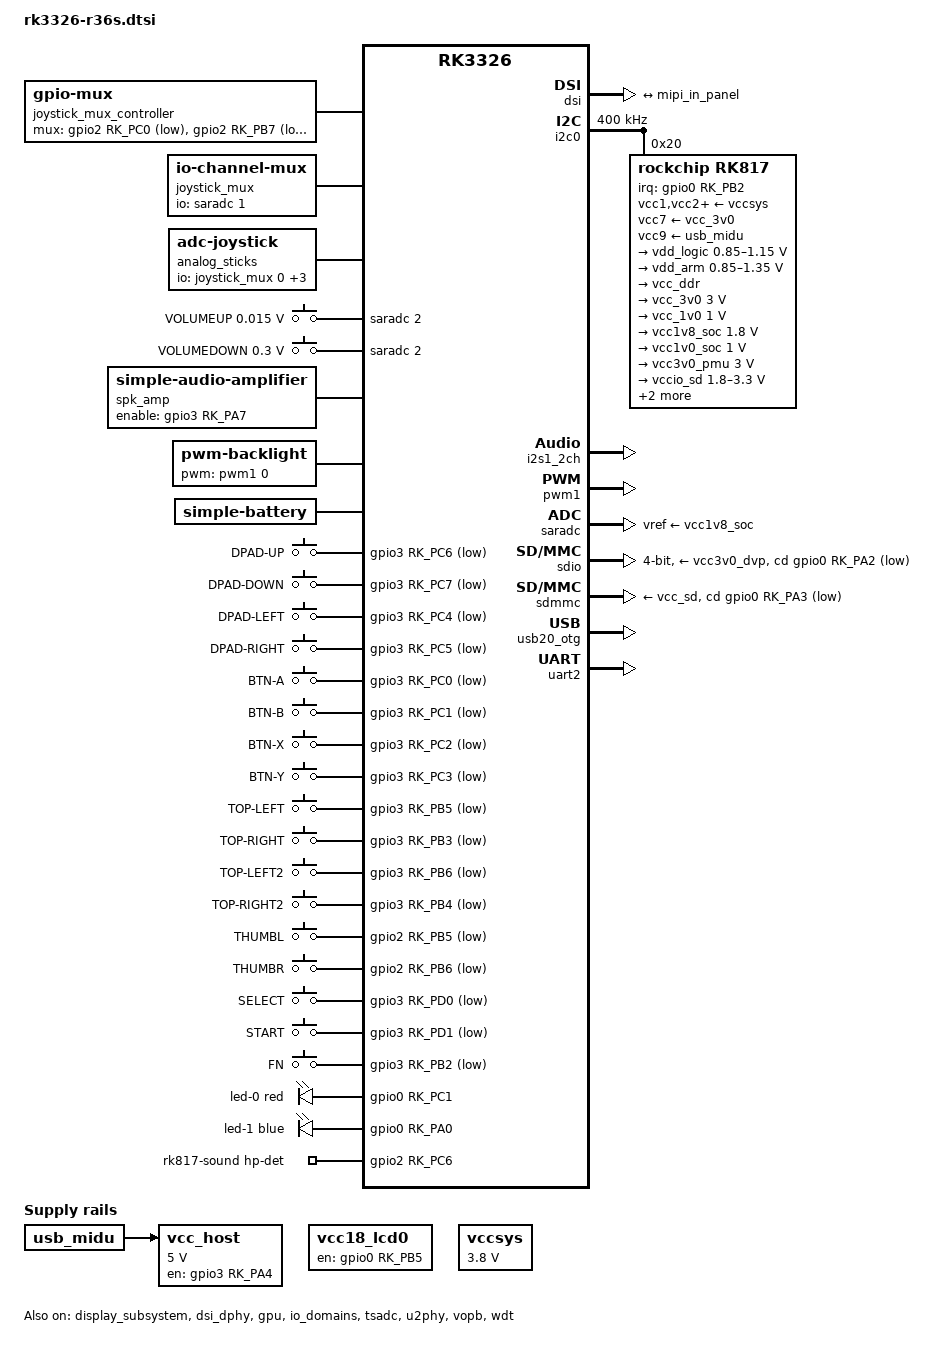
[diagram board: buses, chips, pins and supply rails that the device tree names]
// SPDX-License-Identifier: (GPL-2.0+ OR MIT)
/*
 * R36S-based consoles Device Tree Include file
 *
 * Copyright 2026 Trijal Saha - <trijalsaha2012@gmail.com>
 */

/dts-v1/;
#include <dt-bindings/gpio/gpio.h>
#include <dt-bindings/input/input.h>
#include <dt-bindings/leds/common.h>
#include <dt-bindings/pinctrl/rockchip.h>
#include "rk3326.dtsi"

/ {
	aliases {
		mmc0 = &sdmmc;
		mmc1 = &sdio;
	};

	chosen {
		stdout-path = "serial2:115200n8";
	};

	/*
	 * Persistent store for the kernel log across a reset. A hard hang
	 * leaves nothing on the console and the panel is the only output on
	 * this device, so ramoops is the only way to recover the tail of
	 * dmesg. The region must be at a fixed address so it lands in the
	 * same place on the following boot. 0x110000 is the layout Rockchip
	 * boards conventionally use and sits clear of everything the
	 * bootloader touches - extlinux loads at 0x00100000 and is only a
	 * couple of KB, the fdt at 0x08000000 and the kernel at 0x09000000.
	 */
	reserved-memory {
		#address-cells = <2>;
		#size-cells = <2>;
		ranges;

		ramoops: ramoops@110000 {
			compatible = "ramoops";
			reg = <0x0 0x110000 0x0 0xf0000>;
			console-size = <0x80000>;
			ftrace-size = <0x0>;
			pmsg-size = <0x50000>;
			record-size = <0x20000>;
		};
	};

	joystick_mux_controller: mux-controller {
		compatible = "gpio-mux";
		pinctrl-names = "default";
		pinctrl-0 = <&mux_en_pins>;
		#mux-control-cells = <0>;

		mux-gpios = <&gpio2 RK_PC0 GPIO_ACTIVE_LOW>,
			    <&gpio2 RK_PB7 GPIO_ACTIVE_LOW>;
	};

	joystick_mux: adc-mux {
		compatible = "io-channel-mux";
		io-channels = <&saradc 1>;
		io-channel-names = "parent";
		#io-channel-cells = <1>;

		mux-controls = <&joystick_mux_controller>;
		channels = "0", "1", "2", "3";
	};

	analog_sticks: adc-joystick {
		compatible = "adc-joystick";
		io-channels = <&joystick_mux 0>,
			      <&joystick_mux 1>,
			      <&joystick_mux 2>,
			      <&joystick_mux 3>;
		poll-interval = <10>;
		#address-cells = <1>;
		#size-cells = <0>;

		/*
		 * Measured on the hardware: mux channel 0 is the RIGHT stick's
		 * X and channel 3 is the LEFT stick's X - the opposite of what
		 * the vendor driver's channel_mapping implies - and both read
		 * backwards. The Y channels (1 and 2) are correct as-is.
		 */
		axis@0 {
			reg = <0>;
			abs-flat = <32>;
			abs-fuzz = <32>;
			abs-range = <180 800>;
			linux,code = <ABS_RX>;
		};

		axis@1 {
			reg = <1>;
			abs-flat = <32>;
			abs-fuzz = <32>;
			abs-range = <800 180>;
			linux,code = <ABS_Y>;
		};

		axis@2 {
			reg = <2>;
			abs-flat = <32>;
			abs-fuzz = <32>;
			abs-range = <800 180>;
			linux,code = <ABS_RY>;
		};

		axis@3 {
			reg = <3>;
			abs-flat = <32>;
			abs-fuzz = <32>;
			abs-range = <800 180>;
			linux,code = <ABS_X>;
		};
	};

	adc_keys: adc-keys {
		compatible = "adc-keys";
		io-channels = <&saradc 2>;
		io-channel-names = "buttons";
		keyup-threshold-microvolt = <1800000>;
		poll-interval = <100>;

		button-vol-up {
			label = "VOLUMEUP";
			linux,code = <KEY_VOLUMEUP>;
			press-threshold-microvolt = <15000>;
		};

		button-vol-down {
			label = "VOLUMEDOWN";
			linux,code = <KEY_VOLUMEDOWN>;
			press-threshold-microvolt = <300000>;
		};
	};


	spk_amp: audio-amplifier {
		compatible = "simple-audio-amplifier";
		enable-gpios = <&gpio3 RK_PA7 GPIO_ACTIVE_HIGH>;
		pinctrl-0 = <&spk_amp_enable_h>;
		pinctrl-names = "default";
		sound-name-prefix = "Speaker Amp";
	};

	backlight: backlight {
		compatible = "pwm-backlight";
		pwms = <&pwm1 0 25000 0>;
	};

	battery: battery {
		compatible = "simple-battery";
		charge-full-design-microamp-hours = <4000000>;
		charge-term-current-microamp = <200000>;
		constant-charge-current-max-microamp = <1500000>;
		constant-charge-voltage-max-microvolt = <4200000>;
		factory-internal-resistance-micro-ohms = <100000>;
		voltage-max-design-microvolt = <4100000>;
		voltage-min-design-microvolt = <3300000>;

		ocv-capacity-celsius = <20>;
		ocv-capacity-table-0 =  <4046950 100>, <4001920 95>, <3967900 90>, <3940000 85>,
					<3910000 80>, <3870000 75>, <3830000 70>, <3790000 65>,
					<3750000 60>, <3720000 55>, <3690000 50>, <3650000 45>,
					<3610000 40>, <3570000 35>, <3540000 30>, <3500000 25>,
					<3460000 20>, <3420000 15>, <3380000 10>, <3340000 5>,
					<3300000 0>;
	};

	builtin_gamepad: gpio-keys {
		compatible = "gpio-keys";
		pinctrl-names = "default";
		pinctrl-0 = <&btn_pins>;

		button-dpad-up {
			gpios = <&gpio3 RK_PC6 GPIO_ACTIVE_LOW>;
			label = "DPAD-UP";
			linux,code = <BTN_DPAD_UP>;
		};

		button-dpad-down {
			gpios = <&gpio3 RK_PC7 GPIO_ACTIVE_LOW>;
			label = "DPAD-DOWN";
			linux,code = <BTN_DPAD_DOWN>;
		};

		button-dpad-left {
			gpios = <&gpio3 RK_PC4 GPIO_ACTIVE_LOW>;
			label = "DPAD-LEFT";
			linux,code = <BTN_DPAD_LEFT>;
		};

		button-dpad-right {
			gpios = <&gpio3 RK_PC5 GPIO_ACTIVE_LOW>;
			label = "DPAD-RIGHT";
			linux,code = <BTN_DPAD_RIGHT>;
		};

		button-a {
			gpios = <&gpio3 RK_PC0 GPIO_ACTIVE_LOW>;
			label = "BTN-A";
			linux,code = <BTN_EAST>;
		};

		button-b {
			gpios = <&gpio3 RK_PC1 GPIO_ACTIVE_LOW>;
			label = "BTN-B";
			linux,code = <BTN_SOUTH>;
		};

		button-x {
			gpios = <&gpio3 RK_PC2 GPIO_ACTIVE_LOW>;
			label = "BTN-X";
			linux,code = <BTN_NORTH>;
		};

		button-y {
			gpios = <&gpio3 RK_PC3 GPIO_ACTIVE_LOW>;
			label = "BTN-Y";
			linux,code = <BTN_WEST>;
		};

		button-tl {
			gpios = <&gpio3 RK_PB5 GPIO_ACTIVE_LOW>;
			label = "TOP-LEFT";
			linux,code = <BTN_TL>;
		};

		button-tr {
			gpios = <&gpio3 RK_PB3 GPIO_ACTIVE_LOW>;
			label = "TOP-RIGHT";
			linux,code = <BTN_TR>;
		};

		button-tl2 {
			gpios = <&gpio3 RK_PB6 GPIO_ACTIVE_LOW>;
			label = "TOP-LEFT2";
			linux,code = <BTN_TL2>;
		};

		button-tr2 {
			gpios = <&gpio3 RK_PB4 GPIO_ACTIVE_LOW>;
			label = "TOP-RIGHT2";
			linux,code = <BTN_TR2>;
		};

		button-thumbl {
			gpios = <&gpio2 RK_PB5 GPIO_ACTIVE_LOW>;
			label = "THUMBL";
			linux,code = <BTN_THUMBL>;
		};

		button-thumbr {
			gpios = <&gpio2 RK_PB6 GPIO_ACTIVE_LOW>;
			label = "THUMBR";
			linux,code = <BTN_THUMBR>;
		};

		button-select {
			gpios = <&gpio3 RK_PD0 GPIO_ACTIVE_LOW>;
			label = "SELECT";
			linux,code = <BTN_SELECT>;
		};

		button-start {
			gpios = <&gpio3 RK_PD1 GPIO_ACTIVE_LOW>;
			label = "START";
			linux,code = <BTN_START>;
		};

		button-mode {
			gpios = <&gpio3 RK_PB2 GPIO_ACTIVE_LOW>;
			label = "FN";
			linux,code = <BTN_MODE>;
		};
	};

	gpio_leds: gpio-leds {
		compatible = "gpio-leds";
		pinctrl-names = "default";
		pinctrl-0 = <&led_pins>;

		led-0 {
			color = <LED_COLOR_ID_RED>;
			default-state = "off";
			function = LED_FUNCTION_CHARGING;
			gpios = <&gpio0 RK_PC1 GPIO_ACTIVE_HIGH>;
		};

		led-1 {
			color = <LED_COLOR_ID_BLUE>;
			default-state = "on";
			function = LED_FUNCTION_POWER;
			gpios = <&gpio0 RK_PA0 GPIO_ACTIVE_HIGH>;
			linux,default-trigger = "default-on";
		};
	};

	rk817-sound {
		compatible = "simple-audio-card";
		pinctrl-0 = <&hp_det>;
		pinctrl-names = "default";
		simple-audio-card,name = "rk817_ext";
		simple-audio-card,aux-devs = <&spk_amp>;
		simple-audio-card,format = "i2s";
		simple-audio-card,hp-det-gpios = <&gpio2 RK_PC6 GPIO_ACTIVE_HIGH>;
		simple-audio-card,mclk-fs = <256>;
		simple-audio-card,widgets =
			"Microphone", "Mic Jack",
			"Headphone", "Headphones",
			"Speaker", "Speaker";
		simple-audio-card,routing =
			"MICL", "Mic Jack",
			"Headphones", "HPOL",
			"Headphones", "HPOR",
			"Speaker", "SPKO";

		simple-audio-card,codec {
			sound-dai = <&rk817>;
		};

		simple-audio-card,cpu {
			sound-dai = <&i2s1_2ch>;
		};
	};

	vcc18_lcd0: regulator-vcc18-lcd0 {
		compatible = "regulator-fixed";
		enable-active-high;
		gpio = <&gpio0 RK_PB5 GPIO_ACTIVE_HIGH>;
		pinctrl-names = "default";
		pinctrl-0 = <&vcc18_lcd_n>;
		regulator-boot-on;
		regulator-name = "vcc18_lcd0_n";

		regulator-state-mem {
			regulator-off-in-suspend;
		};
	};

	vcc_host: regulator-vcc-host {
		compatible = "regulator-fixed";
		regulator-name = "vcc_host";
		regulator-min-microvolt = <5000000>;
		regulator-max-microvolt = <5000000>;

		gpio = <&gpio3 RK_PA4 GPIO_ACTIVE_HIGH>;
		enable-active-high;
		pinctrl-names = "default";
		pinctrl-0 = <&vcc5_usb>;
		regulator-always-on;
		regulator-boot-on;
		vin-supply = <&usb_midu>;
	};

	vccsys: regulator-vccsys {
		compatible = "regulator-fixed";
		regulator-name = "vcc3v8_sys";
		regulator-always-on;
		regulator-min-microvolt = <3800000>;
		regulator-max-microvolt = <3800000>;
	};

};

&cpu0 {
	cpu-supply = <&vdd_arm>;
};

&cpu1 {
	cpu-supply = <&vdd_arm>;
};

&cpu2 {
	cpu-supply = <&vdd_arm>;
};

&cpu3 {
	cpu-supply = <&vdd_arm>;
};

&cru {
	assigned-clocks = <&cru PLL_NPLL>,
		<&cru ACLK_BUS_PRE>, <&cru ACLK_PERI_PRE>,
		<&cru HCLK_BUS_PRE>, <&cru HCLK_PERI_PRE>,
		<&cru PCLK_BUS_PRE>, <&cru SCLK_GPU>;

	assigned-clock-rates = <1188000000>,
		<200000000>, <200000000>,
		<150000000>, <150000000>,
		<100000000>, <200000000>;
};

&display_subsystem {
	status = "okay";
};

&dsi {
	#address-cells = <1>;
	#size-cells = <0>;
	status = "okay";

	ports {
		mipi_out: port@1 {
			reg = <1>;

			mipi_out_panel: endpoint {
				remote-endpoint = <&mipi_in_panel>;
			};
		};
	};

	internal_display: panel@0 {
		reg = <0>;
		backlight = <&backlight>;
		pinctrl-names = "default";
		pinctrl-0 = <&lcd_rst>;
		reset-gpios = <&gpio3 RK_PB7 GPIO_ACTIVE_LOW>;

		port {
			mipi_in_panel: endpoint {
				remote-endpoint = <&mipi_out_panel>;
			};
		};
	};
};

&dsi_dphy {
	status = "okay";
};

&gpu {
	mali-supply = <&vdd_logic>;
	status = "okay";
};

&i2c0 {
	clock-frequency = <400000>;
	i2c-scl-falling-time-ns = <16>;
	i2c-scl-rising-time-ns = <280>;
	status = "okay";

	rk817: pmic@20 {
		compatible = "rockchip,rk817";
		reg = <0x20>;
		#clock-cells = <1>;
		clock-names = "mclk";
		clock-output-names = "rk808-clkout1", "xin32k";
		clocks = <&cru SCLK_I2S1_OUT>;
		interrupt-parent = <&gpio0>;
		interrupts = <RK_PB2 IRQ_TYPE_LEVEL_LOW>;
		pinctrl-0 = <&pmic_int>, <&i2s1_2ch_mclk>;
		pinctrl-names = "default";
		#sound-dai-cells = <0>;
		system-power-controller;
		wakeup-source;

		vcc1-supply = <&vccsys>;
		vcc2-supply = <&vccsys>;
		vcc3-supply = <&vccsys>;
		vcc4-supply = <&vccsys>;
		vcc5-supply = <&vccsys>;
		vcc6-supply = <&vccsys>;
		vcc7-supply = <&vcc_3v0>;
		vcc8-supply = <&vccsys>;
		vcc9-supply = <&usb_midu>;

		regulators {
			vdd_logic: DCDC_REG1 {
				regulator-always-on;
				regulator-boot-on;
				regulator-max-microvolt = <1150000>;
				regulator-min-microvolt = <850000>;
				regulator-name = "vdd_logic";
				regulator-ramp-delay = <6001>;

				regulator-state-mem {
					regulator-on-in-suspend;
					regulator-suspend-microvolt = <950000>;
				};
			};

			vdd_arm: DCDC_REG2 {
				regulator-always-on;
				regulator-boot-on;
				regulator-max-microvolt = <1350000>;
				regulator-min-microvolt = <850000>;
				regulator-name = "vdd_arm";
				regulator-ramp-delay = <6001>;

				regulator-state-mem {
					regulator-off-in-suspend;
					regulator-suspend-microvolt = <950000>;
				};
			};

			vcc_ddr: DCDC_REG3 {
				regulator-always-on;
				regulator-boot-on;
				regulator-name = "vcc_ddr";

				regulator-state-mem {
					regulator-on-in-suspend;
				};
			};

			vcc_3v0: DCDC_REG4 {
				regulator-always-on;
				regulator-boot-on;
				regulator-max-microvolt = <3000000>;
				regulator-min-microvolt = <3000000>;
				regulator-name = "vcc_3v0";

				regulator-state-mem {
					regulator-off-in-suspend;
					regulator-suspend-microvolt = <3000000>;
				};
			};

			vcc_1v0: LDO_REG1 {
				regulator-always-on;
				regulator-boot-on;
				regulator-max-microvolt = <1000000>;
				regulator-min-microvolt = <1000000>;
				regulator-name = "vcc_1v0";

				regulator-state-mem {
					regulator-on-in-suspend;
					regulator-suspend-microvolt = <1000000>;
				};
			};

			vcc1v8_soc: LDO_REG2 {
				regulator-always-on;
				regulator-boot-on;
				regulator-max-microvolt = <1800000>;
				regulator-min-microvolt = <1800000>;
				regulator-name = "vcc1v8_soc";

				regulator-state-mem {
					regulator-on-in-suspend;
					regulator-suspend-microvolt = <1800000>;
				};
			};

			vcc1v0_soc: LDO_REG3 {
				regulator-always-on;
				regulator-boot-on;
				regulator-max-microvolt = <1000000>;
				regulator-min-microvolt = <1000000>;
				regulator-name = "vcc1v0_soc";

				regulator-state-mem {
					regulator-on-in-suspend;
					regulator-suspend-microvolt = <1000000>;
				};
			};

			vcc3v0_pmu: LDO_REG4 {
				regulator-always-on;
				regulator-boot-on;
				regulator-max-microvolt = <3000000>;
				regulator-min-microvolt = <3000000>;
				regulator-name = "vcc3v0_pmu";

				regulator-state-mem {
					regulator-on-in-suspend;
					regulator-suspend-microvolt = <3000000>;
				};
			};

			vccio_sd: LDO_REG5 {
				regulator-always-on;
				regulator-boot-on;
				regulator-max-microvolt = <3300000>;
				regulator-min-microvolt = <1800000>;
				regulator-name = "vccio_sd";

				regulator-state-mem {
					regulator-on-in-suspend;
					regulator-suspend-microvolt = <3300000>;
				};
			};

			vcc_sd: LDO_REG6 {
				regulator-always-on;
				regulator-boot-on;
				regulator-max-microvolt = <3000000>;
				regulator-min-microvolt = <1800000>;
				regulator-name = "vcc_sd";

				regulator-state-mem {
					regulator-on-in-suspend;
					regulator-suspend-microvolt = <3000000>;
				};
			};

			vcc2v8_dvp: LDO_REG7 {
				regulator-max-microvolt = <2800000>;
				regulator-min-microvolt = <2800000>;
				regulator-name = "vcc2v8_dvp";

				regulator-state-mem {
					regulator-off-in-suspend;
					regulator-suspend-microvolt = <2800000>;
				};
			};

			vcc3v0_dvp: LDO_REG8 {
				regulator-always-on;
				regulator-boot-on;
				regulator-max-microvolt = <3000000>;
				regulator-min-microvolt = <3000000>;
				regulator-name = "vcc3v0_dvp";

				regulator-state-mem {
					regulator-on-in-suspend;
					regulator-suspend-microvolt = <3000000>;
				};
			};

			vdd1v5_dvp: LDO_REG9 {
				regulator-max-microvolt = <1500000>;
				regulator-min-microvolt = <1500000>;
				regulator-name = "vdd1v5_dvp";

				regulator-state-mem {
					regulator-off-in-suspend;
					regulator-suspend-microvolt = <1500000>;
				};
			};

			usb_midu: BOOST {
				regulator-always-on;
				regulator-boot-on;
				regulator-max-microvolt = <5400000>;
				regulator-min-microvolt = <4700000>;
				regulator-name = "usb_midu";
			};

			otg_switch: OTG_SWITCH {
				regulator-name = "otg_switch";

				regulator-state-mem {
					regulator-off-in-suspend;
				};
			};
		};

		rk817_charger: charger {
			monitored-battery = <&battery>;
			rockchip,resistor-sense-micro-ohms = <10000>;
			rockchip,sleep-enter-current-microamp = <300000>;
			rockchip,sleep-filter-current-microamp = <100000>;
		};

		rk817_codec: codec {
			rockchip,mic-in-differential;
		};
	};
};

&i2s1_2ch {
	status = "okay";
};

&io_domains {
	vccio1-supply = <&vcc2v8_dvp>;
	vccio2-supply = <&vccio_sd>;
	vccio3-supply = <&vcc1v8_soc>;
	vccio4-supply = <&vcc_3v0>;
	vccio5-supply = <&vcc_3v0>;
	vccio6-supply = <&vcc1v8_soc>;
	status = "okay";
};

&pmu_io_domains {
	pmuio1-supply = <&vcc3v0_pmu>;
	pmuio2-supply = <&vcc3v0_pmu>;
	status = "okay";
};

&pwm1 {
	status = "okay";
};

&saradc {
	vref-supply = <&vcc1v8_soc>;
	status = "okay";
};

&sdio {
	bus-width = <4>;
	cap-sd-highspeed;
	card-detect-delay = <800>;
	cd-gpios = <&gpio0 RK_PA2 GPIO_ACTIVE_LOW>;
	max-frequency = <50000000>;
	vmmc-supply = <&vcc3v0_dvp>;
	vqmmc-supply = <&vcc2v8_dvp>;
	status = "okay";
};

&sdmmc {
	cap-sd-highspeed;
	card-detect-delay = <200>;
	cd-gpios = <&gpio0 RK_PA3 GPIO_ACTIVE_LOW>;
	sd-uhs-sdr12;
	sd-uhs-sdr25;
	sd-uhs-sdr50;
	sd-uhs-sdr104;
	vmmc-supply = <&vcc_sd>;
	vqmmc-supply = <&vccio_sd>;
	status = "okay";
};

&tsadc {
	status = "okay";
};

&u2phy {
	status = "okay";

	u2phy_otg: otg-port {
		status = "okay";
	};
};

&usb20_otg {
	/*
	 * The single USB-C port has no ID pin and no Type-C controller, so
	 * dr_mode = "otg" alone leaves dwc2 in host mode: no UDC is
	 * registered and the board never enumerates as a gadget. Register a
	 * role switch and default it to peripheral so USB networking works
	 * out of the box; host mode is then one write to
	 * /sys/class/usb_role/<sw>/role away.
	 */
	role-switch-default-mode = "peripheral";
	status = "okay";
	usb-role-switch;
};

&uart2 {
	pinctrl-0 = <&uart2m0_xfer>;
	pinctrl-names = "default";
	status = "okay";
};

&vopb {
	status = "okay";
};

&vopb_mmu {
	status = "okay";
};

/*
 * A hard kernel hang has to end in a WARM reset, otherwise DRAM loses the
 * ramoops region and there is nothing to read back. Requires dropping
 * "nowatchdog" from the kernel command line.
 */
&wdt {
	status = "okay";
};

&pinctrl {
	joy-mux {
		mux_en_pins: mux-en-pins {
			/*
			 * PB4 enables the analog mux and is held low here. PC0 and
			 * PB7 are its two select lines, requested by the gpio-mux
			 * node; they need muxing to GPIO too, or writes to them do
			 * nothing and only the channels matching the stuck level
			 * are ever selected.
			 */
			rockchip,pins = <2 RK_PB4 RK_FUNC_GPIO &pcfg_output_low>,
					<2 RK_PC0 RK_FUNC_GPIO &pcfg_pull_none>,
					<2 RK_PB7 RK_FUNC_GPIO &pcfg_pull_none>;
		};
	};

	btns {
		btn_pins: btn-pins {
			rockchip,pins = <2 RK_PB5 RK_FUNC_GPIO &pcfg_pull_up>,
				<2 RK_PB6 RK_FUNC_GPIO &pcfg_pull_up>,
				<3 RK_PB2 RK_FUNC_GPIO &pcfg_pull_up>,
				<3 RK_PB3 RK_FUNC_GPIO &pcfg_pull_up>,
				<3 RK_PB4 RK_FUNC_GPIO &pcfg_pull_up>,
				<3 RK_PB5 RK_FUNC_GPIO &pcfg_pull_up>,
				<3 RK_PB6 RK_FUNC_GPIO &pcfg_pull_up>,
				<3 RK_PC0 RK_FUNC_GPIO &pcfg_pull_up>,
				<3 RK_PC1 RK_FUNC_GPIO &pcfg_pull_up>,
				<3 RK_PC2 RK_FUNC_GPIO &pcfg_pull_up>,
				<3 RK_PC3 RK_FUNC_GPIO &pcfg_pull_up>,
				<3 RK_PC4 RK_FUNC_GPIO &pcfg_pull_up>,
				<3 RK_PC5 RK_FUNC_GPIO &pcfg_pull_up>,
				<3 RK_PC6 RK_FUNC_GPIO &pcfg_pull_up>,
				<3 RK_PC7 RK_FUNC_GPIO &pcfg_pull_up>,
				<3 RK_PD0 RK_FUNC_GPIO &pcfg_pull_up>,
				<3 RK_PD1 RK_FUNC_GPIO &pcfg_pull_up>;
		};
	};

	gpio-lcd {
		lcd_rst: lcd-rst {
			rockchip,pins = <3 RK_PB7 RK_FUNC_GPIO &pcfg_pull_none>;
		};
	};

	leds {
		led_pins: led-pins {
			rockchip,pins = <0 RK_PA0 RK_FUNC_GPIO &pcfg_pull_none>,
					<0 RK_PC1 RK_FUNC_GPIO &pcfg_pull_none>;
		};
	};

	headphone {
		hp_det: hp-det {
			rockchip,pins = <2 RK_PC6 RK_FUNC_GPIO &pcfg_pull_up>;
		};
	};

	spk-amp {
		spk_amp_enable_h: spk-amp-enable-h {
			rockchip,pins = <3 RK_PA7 RK_FUNC_GPIO &pcfg_pull_none>;
		};
	};

	vcc5-usb {
		vcc5_usb: vcc5-usb {
			rockchip,pins = <3 RK_PA4 RK_FUNC_GPIO &pcfg_pull_none_smt>;
		};
	};

	vcc18-lcd {
		vcc18_lcd_n: vcc18-lcd-n {
			rockchip,pins = <0 RK_PB5 RK_FUNC_GPIO &pcfg_pull_none>;
		};
	};

	pmic {
		dc_det: dc-det {
			rockchip,pins = <0 RK_PB3 RK_FUNC_GPIO &pcfg_pull_none>;
		};

		pmic_int: pmic-int {
			rockchip,pins = <0 RK_PB2 RK_FUNC_GPIO &pcfg_pull_up>;
		};

		soc_slppin_gpio: soc_slppin_gpio {
			rockchip,pins = <0 RK_PA4 RK_FUNC_GPIO &pcfg_output_low>;
		};

		soc_slppin_rst: soc_slppin_rst {
			rockchip,pins = <0 RK_PA4 2 &pcfg_pull_none>;
		};

		soc_slppin_slp: soc_slppin_slp {
			rockchip,pins = <0 RK_PA4 1 &pcfg_pull_none>;
		};
	};
};
